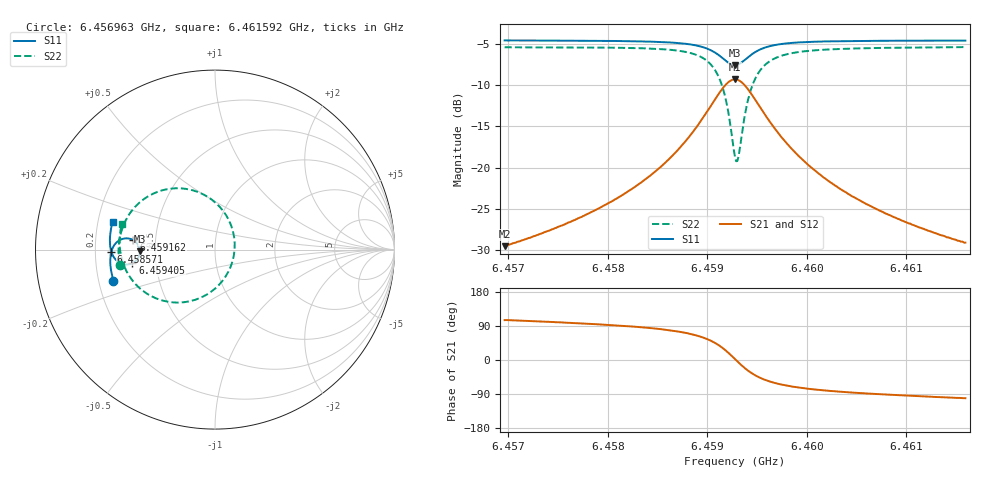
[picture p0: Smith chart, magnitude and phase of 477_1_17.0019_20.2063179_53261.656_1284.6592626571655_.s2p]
#  HZ  S  RI  R  50.00
! Rohde & Schwarz Vector Network Analyzer
! Rohde-Schwarz,ZNB20-2Port,1311601062101988,3.16
! Created: UTC 3/20/2024, 11:13:24 PM
! freq[Hz]  re:S11  im:S11  re:S21  im:S21  re:S12  im:S12  re:S22  im:S22
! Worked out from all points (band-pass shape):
!   401 points, 6.456963 GHz to 6.461592 GHz, reference 50 ohm
!   highest |S21| = -9.27 dB at 6.459277 GHz (marker M1); lowest = -29.5 dB at 6.456963 GHz (marker M2)
!   |S21| within 3 dB of the highest: 6.459046 GHz to 6.459509 GHz (462.4 kHz wide, 0.00716 % of centre)
!   lowest |S11| = -7.6 dB at 6.459277 GHz (marker M3), VSWR 2.44, Z = 20.5 - j0.504 ohm
!   |S11| at or under -10 dB: nowhere
!   |S22| runs from -19.2 to -5.4 dB; largest |S21 - S12| = 0.013
!   S11 on the Smith chart (normalised r, x): 6.456963 GHz: 0.26, -0.14; 6.458571 GHz: 0.27, -0.01; 6.459162 GHz: 0.37, +0.05; 6.459405 GHz: 0.37, -0.07; 6.461592 GHz: 0.26, +0.12
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6.4569628e9  -0.5662 -0.1732  -0.00875 0.0322  -0.00723 0.0322  -0.5314 -0.0861
6.4577382e9  -0.5806 -0.1056  -0.00561 0.0499  -0.00323 0.0494  -0.5371 0.00408
6.4581664e9  -0.5837 -0.0628  0.000243 0.0694  0.00347 0.068  -0.5294 0.0715
6.4585136e9  -0.5798 -0.0215  0.014 0.0981  0.0179 0.0954  -0.5042 0.1491
6.4585714e9  -0.5781 -0.0135  0.0182 0.1049  0.0222 0.1018  -0.4962 0.1657
6.4587797e9  -0.5652 0.0186  0.0455 0.1372  0.0497 0.1323  -0.4451 0.2382
6.4589302e9  -0.5427 0.0448  0.0905 0.1676  0.0937 0.161  -0.3622 0.3028
6.459069e9  -0.4992 0.0626  0.1772 0.1842  0.1781 0.1769  -0.2038 0.3417
6.4591616e9  -0.4549 0.0525  0.2666 0.1534  0.2669 0.1474  -0.0379 0.292
6.4592079e9  -0.4337 0.0338  0.3102 0.1107  0.3114 0.1056  0.0448 0.2162
6.4592774e9  -0.4189 -0.0101  0.3435 0.0144  0.347 0.00742  0.1097 0.0373
6.4592889e9  -0.4194 -0.018  0.3433 -0.00336  0.347 -0.0109  0.1094 0.0038
6.4593121e9  -0.4229 -0.0337  0.3378 -0.0379  0.3416 -0.047  0.0985 -0.0618
6.4593584e9  -0.4385 -0.0595  0.3093 -0.0976  0.3116 -0.1095  0.0411 -0.1746
6.4594046e9  -0.4604 -0.0757  0.2675 -0.1385  0.2665 -0.1516  -0.0436 -0.2493
6.4594972e9  -0.5036 -0.0824  0.1831 -0.1694  0.1769 -0.1808  -0.2116 -0.2951
6.4596477e9  -0.5471 -0.0618  0.0957 -0.1556  0.0872 -0.1619  -0.3784 -0.2459
6.4598097e9  -0.5685 -0.0342  0.0512 -0.128  0.0435 -0.1307  -0.4584 -0.1739
6.4600527e9  -0.5811 0.00151  0.0221 -0.0965  0.0163 -0.0971  -0.5061 -0.0919
6.4604115e9  -0.5857 0.0437  0.00589 -0.0692  0.00179 -0.0687  -0.5277 -0.0108
6.4608281e9  -0.5835 0.0854  -0.00145 -0.0516  -0.00431 -0.0507  -0.5317 0.0553
6.4615919e9  -0.5711 0.1529  -0.00659 -0.0344  -0.00824 -0.0334  -0.52 0.145
